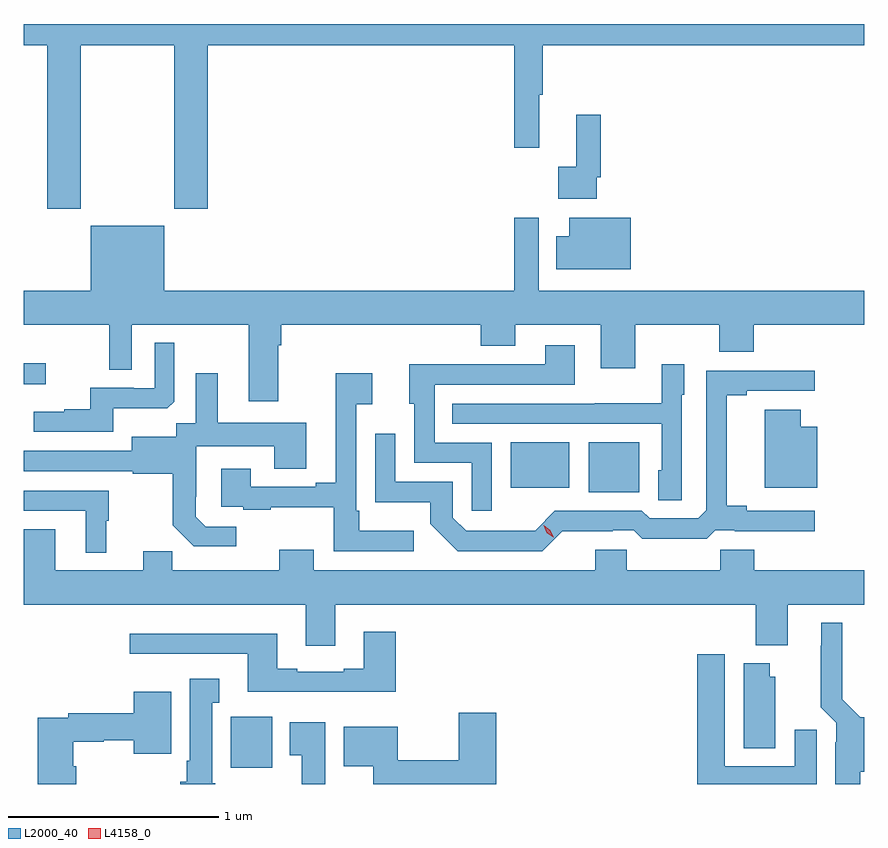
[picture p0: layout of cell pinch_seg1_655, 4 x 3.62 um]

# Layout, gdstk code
import gdstk
lib = gdstk.Library(unit=1e-6, precision=1e-09)
def R(c, l, rs):  # rectangles x0, y0, x1, y1
    for r in rs: c.add(gdstk.rectangle(r[:2], r[2:], *l))
def P(c, l, *ps):  # polygons
    for p in ps: c.add(gdstk.Polygon(p, *l))
L2000_40 = (2000, 40)
L4158_0 = (4158, 0)

pinch_seg1_655 = lib.new_cell('pinch_seg1_655')
R(pinch_seg1_655, L2000_40, [(826.034,580.262,826.231,580.504), (827.738,581.573,827.977,581.809), (827.366,581.594,827.644,581.809), (825.049,582.086,825.154,582.185)])
P(pinch_seg1_655, L2000_40, [(825.321,583.7),(825.766,583.7),(825.766,582.921),(825.926,582.921),(825.926,583.7),(827.383,583.7),(827.383,583.212),(827.501,583.212),(827.501,583.464),(827.519,583.464),(827.519,583.7),(829.049,583.7),(829.049,583.8),(825.049,583.8),(825.049,583.7),(825.161,583.7),(825.161,582.921),(825.321,582.921)],
  [(827.775,583.072),(827.795,583.072),(827.795,583.369),(827.678,583.369),(827.678,583.121),(827.592,583.121),(827.592,582.968),(827.775,582.968)],
  [(827.938,582.877),(827.645,582.877),(827.645,582.79),(827.584,582.79),(827.584,582.632),(827.938,582.632)],
  [(826.261,582.272),(826.274,582.272),(826.274,582.368),(827.225,582.368),(827.225,582.269),(827.389,582.269),(827.389,582.368),(827.795,582.368),(827.795,582.162),(827.959,582.162),(827.959,582.368),(828.359,582.368),(828.359,582.24),(828.523,582.24),(828.523,582.368),(829.049,582.368),(829.049,582.532),(827.499,582.532),(827.499,582.877),(827.383,582.877),(827.383,582.532),(825.718,582.532),(825.718,582.841),(825.368,582.841),(825.368,582.532),(825.049,582.532),(825.049,582.368),(825.456,582.368),(825.456,582.154),(825.564,582.154),(825.564,582.368),(826.121,582.368),(826.121,582.006),(826.261,582.006)],
  [(825.475,581.972),(825.733,581.972),(825.765,582.003),(825.765,582.283),(825.672,582.283),(825.672,582.066),(825.572,582.066),(825.572,582.069),(825.365,582.069),(825.365,581.968),(825.241,581.968),(825.241,581.956),(825.097,581.956),(825.097,581.859),(825.475,581.859)],
  [(827.277,581.808),(827.004,581.808),(827.004,582.084),(827.671,582.084),(827.671,582.271),(827.531,582.271),(827.531,582.18),(827.101,582.18),(827.101,582.182),(826.883,582.182),(826.883,581.994),(826.908,581.994),(826.908,581.712),(827.181,581.712),(827.181,581.484),(827.277,581.484)],
  [(828.18,582.036),(828.193,582.036),(828.193,582.181),(828.084,582.181),(828.084,581.995),(827.767,581.995),(827.767,581.994),(827.089,581.994),(827.089,581.898),(828.084,581.898),(828.084,581.676),(828.068,581.676),(828.068,581.533),(828.18,581.533)],
  [(827.612,581.387),(827.852,581.387),(827.852,581.391),(827.952,581.391),(827.992,581.352),(828.299,581.352),(828.339,581.391),(828.433,581.391),(828.433,581.387),(828.814,581.387),(828.814,581.484),(828.49,581.484),(828.49,581.507),(828.395,581.507),(828.395,582.034),(828.49,582.034),(828.49,582.054),(828.814,582.054),(828.814,582.15),(828.297,582.15),(828.297,581.487),(828.258,581.448),(828.027,581.448),(827.991,581.484),(827.577,581.484),(827.483,581.39),(827.378,581.39),(827.378,581.388),(827.154,581.388),(827.091,581.451),(827.091,581.622),(826.818,581.622),(826.818,581.851),(826.722,581.851),(826.722,581.525),(826.984,581.525),(826.984,581.423),(827.114,581.292),(827.517,581.292)],
  [(826.906,581.389),(826.645,581.389),(826.645,581.485),(826.632,581.485),(826.632,581.99),(826.708,581.99),(826.708,582.139),(826.535,582.139),(826.535,581.617),(826.439,581.617),(826.439,581.598),(826.129,581.598),(826.129,581.683),(825.989,581.683),(825.989,581.502),(826.093,581.502),(826.093,581.49),(826.225,581.49),(826.225,581.501),(826.524,581.501),(826.524,581.292),(826.906,581.292)],
  [(826.06,581.409),(825.915,581.409),(825.868,581.456),(825.868,581.551),(825.87,581.551),(825.87,581.792),(826.241,581.792),(826.241,581.683),(826.393,581.683),(826.393,581.902),(825.973,581.902),(825.973,582.139),(825.869,582.139),(825.869,581.9),(825.774,581.9),(825.774,581.836),(825.563,581.836),(825.563,581.769),(825.049,581.769),(825.049,581.673),(825.567,581.673),(825.567,581.661),(825.759,581.661),(825.759,581.415),(825.859,581.315),(826.06,581.315)],
  [(828.826,581.884),(828.746,581.884),(828.746,581.965),(828.575,581.965),(828.575,581.594),(828.826,581.594)],
  [(825.442,581.436),(825.454,581.436),(825.454,581.58),(825.049,581.58),(825.049,581.484),(825.344,581.484),(825.344,581.285),(825.442,581.285)],
  [(828.533,580.844),(828.685,580.844),(828.685,581.036),(829.049,581.036),(829.049,581.2),(828.524,581.2),(828.524,581.298),(828.364,581.298),(828.364,581.2),(827.919,581.2),(827.919,581.298),(827.768,581.298),(827.768,581.2),(826.429,581.2),(826.429,581.299),(826.265,581.299),(826.265,581.2),(825.755,581.2),(825.755,581.291),(825.617,581.291),(825.617,581.2),(825.199,581.2),(825.199,581.395),(825.049,581.395),(825.049,581.036),(826.391,581.036),(826.391,580.842),(826.531,580.842),(826.531,581.036),(828.533,581.036)],
  [(829.03,580.242),(829.049,580.242),(829.049,580.501),(829.029,580.501),(828.943,580.588),(828.943,580.951),(828.845,580.951),(828.845,580.841),(828.841,580.841),(828.841,580.55),(828.915,580.476),(828.915,580.382),(828.911,580.382),(828.911,580.184),(829.03,580.184)],
  [(826.82,580.909),(826.667,580.909),(826.667,580.732),(826.571,580.732),(826.571,580.719),(826.351,580.719),(826.351,580.732),(826.255,580.732),(826.255,580.9),(825.555,580.9),(825.555,580.803),(826.115,580.803),(826.115,580.622),(826.82,580.622)],
  [(828.823,580.441),(828.719,580.441),(828.719,580.269),(828.385,580.269),(828.385,580.801),(828.254,580.801),(828.254,580.184),(828.823,580.184)],
  [(828.625,580.695),(828.598,580.695),(828.598,580.759),(828.476,580.759),(828.476,580.354),(828.625,580.354)],
  [(825.96,580.188),(825.946,580.188),(825.946,580.571),(825.979,580.571),(825.979,580.684),(825.839,580.684),(825.839,580.294),(825.824,580.294),(825.824,580.194),(825.794,580.194),(825.794,580.184),(825.96,580.184)],
  [(825.299,580.269),(825.286,580.269),(825.286,580.384),(825.429,580.384),(825.429,580.392),(825.572,580.392),(825.572,580.328),(825.751,580.328),(825.751,580.624),(825.572,580.624),(825.572,580.52),(825.262,580.52),(825.262,580.5),(825.116,580.5),(825.116,580.184),(825.299,580.184)],
  [(827.297,580.522),(827.119,580.522),(827.119,580.298),(826.83,580.298),(826.83,580.456),(826.571,580.456),(826.571,580.268),(826.712,580.268),(826.712,580.184),(827.297,580.184)],
  [(826.483,580.477),(826.316,580.477),(826.316,580.321),(826.373,580.321),(826.373,580.184),(826.483,580.184)])
P(pinch_seg1_655, L4158_0, [(827.569,581.358),(827.539,581.38),(827.523,581.414),(827.523,581.414),(827.524,581.414),(827.554,581.392),(827.57,581.358),(827.57,581.358)])

lib.write_gds('pinch_seg1_655.gds')
